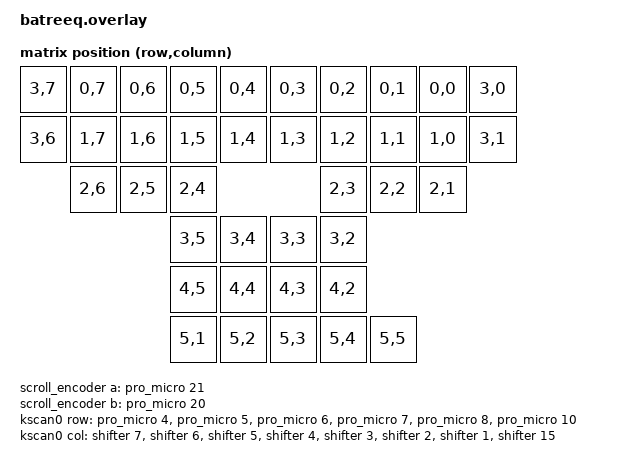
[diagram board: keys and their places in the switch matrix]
/*
 * Copyright (c) 2021 The ZMK Contributors
 *
 * SPDX-License-Identifier: MIT
 */

#include <dt-bindings/zmk/matrix_transform.h>
// #include "vik_connector.dtsi"

&pro_micro_spi { 
    status = "okay";
	cs-gpios = <&pro_micro 9 GPIO_ACTIVE_LOW>;
	shifter: 595@0 {
		compatible = "zmk,gpio-595";
		status = "okay";
		gpio-controller;
		spi-max-frequency = <200000>;
		reg = <0>;
		#gpio-cells = <2>;
		ngpios = <8>;
	};
};

/{
    scroll_encoder: encoder_sc {
        compatible = "alps,ec11";
        a-gpios = <&pro_micro 21 (GPIO_ACTIVE_HIGH | GPIO_PULL_UP)>;
        b-gpios = <&pro_micro 20 (GPIO_ACTIVE_HIGH | GPIO_PULL_UP)>;
        steps = <15>;
        status = "disabled";
    };

    sensors: sensors {
        compatible = "zmk,keymap-sensors";
        sensors = <&scroll_encoder>;
        triggers-per-rotation = <15>;
    };
};

&scroll_encoder {
    status = "okay";
};


//FIXME: change this to work with the waveshare display
/*nice_view_spi: &spi1 {
    compatible = "nordic,nrf-spim";
    cs-gpios = <&gpio1 7 GPIO_ACTIVE_HIGH>;
};*/

&pro_micro_spi {
    status = "okay";
    //compatible = "nordic,nrf-spim";
    cs-gpios = <&pro_micro 0 GPIO_ACTIVE_LOW>;
//FIXME: wrong trackball
    trackball: trackball@0 {
        status = "okay";
        compatible = "pixart,pmw3360";
        reg = <0>;
        spi-max-frequency = <2000000>;
        irq-gpios = <&gpio0 1 (GPIO_ACTIVE_LOW | GPIO_PULL_UP)>;

        /*   optional features   */
        snipe-layers = <1 4>;
        scroll-layers = <2 3>;
        // automouse-layer = <4>;
    };
};

/ {
  trackball_listener {
    compatible = "zmk,input-listener";
    device = <&trackball>;

  };
};

/ {
    chosen {
        zmk,kscan = &kscan0;
        zmk,matrix_transform = &default_transform;
    };

    default_transform: keymap_transform_0 {
        compatible = "zmk,matrix-transform";
        columns = <8>;
        rows = <5>;
        map = <
        RC(3,7) RC(0,7) RC(0,6) RC(0,5) RC(0,4)   RC(0,3) RC(0,2) RC(0,1) RC(0,0) RC(3,0)
        RC(3,6) RC(1,7) RC(1,6) RC(1,5) RC(1,4)   RC(1,3) RC(1,2) RC(1,1) RC(1,0) RC(3,1)
                RC(2,6) RC(2,5) RC(2,4)                   RC(2,3) RC(2,2) RC(2,1)
                                RC(3,5) RC(3,4)   RC(3,3) RC(3,2)
                                RC(4,5) RC(4,4)   RC(4,3) RC(4,2)
                                RC(5,1) RC(5,2) RC(5,3) RC(5,4) RC(5,5)
                                             
                                                                          

        >;
    };

    kscan0: kscan_0 {
        compatible = "zmk,kscan-gpio-matrix";
        label = "KSCAN";
        diode-direction = "col2row";

        col-gpios
            = <&shifter 7  GPIO_ACTIVE_HIGH> 
            , <&shifter 6 GPIO_ACTIVE_HIGH>
            , <&shifter 5  GPIO_ACTIVE_HIGH>
            , <&shifter 4  GPIO_ACTIVE_HIGH>
            , <&shifter 3  GPIO_ACTIVE_HIGH>
            , <&shifter 2 GPIO_ACTIVE_HIGH>
            , <&shifter 1 GPIO_ACTIVE_HIGH>
            , <&shifter 15 GPIO_ACTIVE_HIGH>
            ;

        row-gpios
            = <&pro_micro 4 (GPIO_ACTIVE_HIGH | GPIO_PULL_DOWN)>
            , <&pro_micro 5 (GPIO_ACTIVE_HIGH | GPIO_PULL_DOWN)>
            , <&pro_micro 6 (GPIO_ACTIVE_HIGH | GPIO_PULL_DOWN)>
            , <&pro_micro 7 (GPIO_ACTIVE_HIGH | GPIO_PULL_DOWN)>
            , <&pro_micro 8  (GPIO_ACTIVE_HIGH | GPIO_PULL_DOWN)>
            , <&pro_micro 10 (GPIO_ACTIVE_HIGH | GPIO_PULL_DOWN)>
            ;
    };

};
